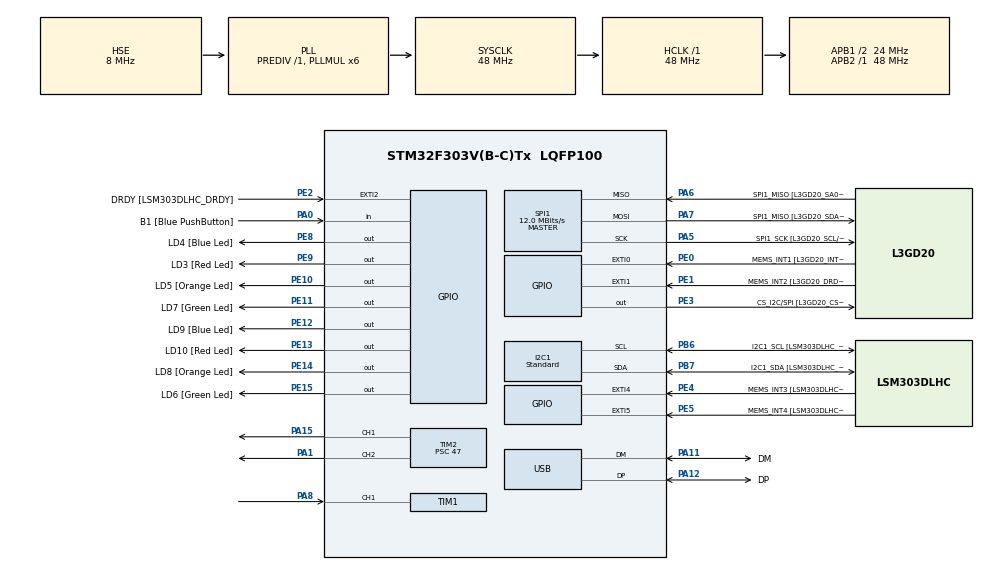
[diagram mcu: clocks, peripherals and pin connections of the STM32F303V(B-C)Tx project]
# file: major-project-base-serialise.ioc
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I2C1.I2C_Speed_Mode=I2C_Standard
I2C1.Speed=100
I2C1.Timing-I2C=0x2000090E
Mcu.Family=STM32F3
Mcu.Name=STM32F303V(B-C)Tx
Mcu.Package=LQFP100
NVIC.PriorityGroup=NVIC_PRIORITYGROUP_0
NVIC.TIM1_CC_IRQn=true\:0\:0\:false\:false\:true\:true\:true\:true
NVIC.TIM2_IRQn=true\:0\:0\:false\:false\:true\:true\:true\:true
PA0.GPIO_Label=B1 [Blue PushButton]
PA0.Signal=GPIO_Input
PA1.Signal=S_TIM2_CH2
PA11.GPIO_Label=DM
PA11.Mode=Device
PA11.Signal=USB_DM
PA12.GPIO_Label=DP
PA12.Mode=Device
PA12.Signal=USB_DP
PA13.GPIO_Label=SWDIO
PA13.Mode=Serial_Wire
PA13.Signal=SYS_JTMS-SWDIO
PA14.GPIO_Label=SWCLK
PA14.Mode=Serial_Wire
PA14.Signal=SYS_JTCK-SWCLK
PA15.Signal=S_TIM2_CH1_ETR
PA5.GPIO_Label=SPI1_SCK [L3GD20_SCL/SPC]
PA5.Mode=Full_Duplex_Master
PA5.Signal=SPI1_SCK
PA6.GPIO_Label=SPI1_MISO [L3GD20_SA0/SDO]
PA6.Mode=Full_Duplex_Master
PA6.Signal=SPI1_MISO
PA7.GPIO_Label=SPI1_MISO [L3GD20_SDA/SDI/SDO]
PA7.Mode=Full_Duplex_Master
PA7.Signal=SPI1_MOSI
PA8.Signal=S_TIM1_CH1
PB3.GPIO_Label=SWO
PB3.Signal=SYS_JTDO-TRACESWO
PB6.GPIO_Label=I2C1_SCL [LSM303DLHC_SCL]
PB6.GPIO_Pu=GPIO_PULLUP
PB6.Mode=I2C
PB6.Signal=I2C1_SCL
PB7.GPIO_Label=I2C1_SDA [LSM303DLHC_SDA]
PB7.GPIO_Pu=GPIO_PULLUP
PB7.Mode=I2C
PB7.Signal=I2C1_SDA
PC14-OSC32_IN.GPIO_Label=OSC32_IN
PC14-OSC32_IN.Signal=RCC_OSC32_IN
PC15-OSC32_OUT.GPIO_Label=OSC32_OUT
PC15-OSC32_OUT.Signal=RCC_OSC32_OUT
PE0.GPIO_Label=MEMS_INT1 [L3GD20_INT1]
PE0.GPIO_ModeDefaultEXTI=GPIO_MODE_EVT_RISING
PE0.Signal=GPXTI0
PE1.GPIO_Label=MEMS_INT2 [L3GD20_DRDY/INT2]
PE1.GPIO_ModeDefaultEXTI=GPIO_MODE_EVT_RISING
PE1.Signal=GPXTI1
PE10.GPIO_Label=LD5 [Orange Led]
PE10.Signal=GPIO_Output
PE11.GPIO_Label=LD7 [Green Led]
PE11.Signal=GPIO_Output
PE12.GPIO_Label=LD9 [Blue Led]
PE12.Signal=GPIO_Output
PE13.GPIO_Label=LD10 [Red Led]
PE13.Signal=GPIO_Output
PE14.GPIO_Label=LD8 [Orange Led]
PE14.Signal=GPIO_Output
PE15.GPIO_Label=LD6 [Green Led]
PE15.Signal=GPIO_Output
PE2.GPIO_Label=DRDY [LSM303DLHC_DRDY]
PE2.GPIO_ModeDefaultEXTI=GPIO_MODE_EVT_RISING
PE2.Signal=GPXTI2
PE3.GPIO_Label=CS_I2C/SPI [L3GD20_CS_I2C/SPI]
PE3.Signal=GPIO_Output
PE4.GPIO_Label=MEMS_INT3 [LSM303DLHC_INT1]
PE4.GPIO_ModeDefaultEXTI=GPIO_MODE_EVT_RISING
PE4.Signal=GPXTI4
PE5.GPIO_Label=MEMS_INT4 [LSM303DLHC_INT2]
PE5.GPIO_ModeDefaultEXTI=GPIO_MODE_EVT_RISING
PE5.Signal=GPXTI5
PE8.GPIO_Label=LD4 [Blue Led]
PE8.Signal=GPIO_Output
PE9.GPIO_Label=LD3 [Red Led]
PE9.Signal=GPIO_Output
PF0-OSC_IN.GPIO_Label=OSC_IN
PF0-OSC_IN.Mode=HSE-External-Clock-Source
PF0-OSC_IN.Signal=RCC_OSC_IN
PF1-OSC_OUT.GPIO_Label=OSC_OUT
PF1-OSC_OUT.Signal=RCC_OSC_OUT
ProjectManager.HeapSize=0x200
ProjectManager.StackSize=0x400
ProjectManager.TargetToolchain=STM32CubeIDE
RCC.AHBFreq_Value=48000000
RCC.APB1CLKDivider=RCC_HCLK_DIV2
RCC.APB1Freq_Value=24000000
RCC.APB1TimFreq_Value=48000000
RCC.APB2Freq_Value=48000000
RCC.APB2TimFreq_Value=48000000
RCC.CortexFreq_Value=48000000
RCC.HCLKFreq_Value=48000000
RCC.HSE_VALUE=8000000
RCC.HSI_VALUE=8000000
RCC.LSE_VALUE=32768
RCC.PLLMUL=RCC_PLL_MUL6
RCC.SYSCLKFreq_VALUE=48000000
RCC.SYSCLKSourceVirtual=RCC_SYSCLKSOURCE_PLLCLK
RCC.USBFreq_Value=48000000
SH.S_TIM1_CH1.0=TIM1_CH1,Input_Capture1_from_TI1
SH.S_TIM2_CH1_ETR.0=TIM2_CH1,PWM Generation1 CH1
SH.S_TIM2_CH2.0=TIM2_CH2,PWM Generation2 CH2
SPI1.BaudRatePrescaler=SPI_BAUDRATEPRESCALER_4
SPI1.BaudRatePrescaler-Full_Duplex_Master=SPI_BAUDRATEPRESCALER_2
SPI1.CalculateBaudRate=12.0 MBits/s
SPI1.CalculateBaudRate-Full_Duplex_Master=24.0 MBits/s
SPI1.Direction=SPI_DIRECTION_2LINES
SPI1.Mode=SPI_MODE_MASTER
SPI1.Mode-Full_Duplex_Master=SPI_MODE_MASTER
SPI1.VirtualType=VM_MASTER
TIM1.Channel-Input_Capture1_from_TI1=TIM_CHANNEL_1
TIM1.ICPolarity_CH1=TIM_INPUTCHANNELPOLARITY_BOTHEDGE
TIM1.Prescaler=47
TIM2.AutoReloadPreload=TIM_AUTORELOAD_PRELOAD_ENABLE
TIM2.Channel-PWM\ Generation1\ CH1=TIM_CHANNEL_1
TIM2.Channel-PWM\ Generation2\ CH2=TIM_CHANNEL_2
TIM2.Period=20000
TIM2.Prescaler=47
TIM2.Pulse-PWM\ Generation1\ CH1=2000
TIM2.Pulse-PWM\ Generation2\ CH2=2000
VP_TIM1_VS_ClockSourceINT.Mode=Internal
board=STM32F3DISCOVERY

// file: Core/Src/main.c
/* USER CODE BEGIN Header */
/**
 ******************************************************************************
 * @file           : main.c
 * @brief          : Main program body
 ******************************************************************************
 * @attention
 *
 * Copyright (c) 2023 STMicroelectronics.
 * All rights reserved.
 *
 * This software is licensed under terms that can be found in the LICENSE file
 * in the root directory of this software component.
 * If no LICENSE file comes with this software, it is provided AS-IS.
 *
 ******************************************************************************
 */
/* USER CODE END Header */
#include "main.h"

/* USER CODE BEGIN Includes */

#include <stdint.h>
#include <stdbool.h>

#include "ptu_definitions.h"
#include "ptu_i2c.h"
#include "serial.h"
#include "serialise.h"
#include "timer.h"
#include "button_interrupt.h"
#include "led.h"
#include "filter.h"

#include "math.h"

bool unlocked = false;

extern uint16_t button_start_time;
//uint16_t button_start_time;

/* USER CODE END Includes */

I2C_HandleTypeDef hi2c1;

SPI_HandleTypeDef hspi1;

TIM_HandleTypeDef htim1;
TIM_HandleTypeDef htim2;

PCD_HandleTypeDef hpcd_USB_FS;

void SystemClock_Config(void);
static void MX_GPIO_Init(void);
static void MX_I2C1_Init(void);
static void MX_SPI1_Init(void);
static void MX_USB_PCD_Init(void);
static void MX_TIM2_Init(void);
static void MX_TIM1_Init(void);

/* USER CODE BEGIN 0 */

// enable the clocks for desired peripherals (GPIOA, C and E)
void enable_clocks() {
	RCC->AHBENR |= RCC_AHBENR_GPIOAEN | RCC_AHBENR_GPIOCEN | RCC_AHBENR_GPIOEEN;
}

// initialise the discovery board I/O (just outputs: inputs are selected by default)
void initialise_board() {
	// get a pointer to the second half word of the MODER register (for outputs pe8-15)
	uint16_t *led_output_registers = ((uint16_t *)&(GPIOE->MODER)) + 1;
	*led_output_registers = 0x5555;
}

typedef union {
	uint8_t all_leds;
	struct {
		uint8_t led_pair_1 : 2;
		uint8_t led_pair_2 : 2;
		uint8_t led_set_of_4 : 4;
	} led_groups;
} LedRegister;

char test_buffer_2[100];

uint16_t last_capture = 0;

uint16_t rise_time = 0;
uint16_t last_period = 0;

void HAL_TIM_IC_CaptureCallback(TIM_HandleTypeDef *htim)
{
	// Instantiate sliding window for rolling average
	static Window last_period_window;
	static bool window_initialised = false;

	if (!window_initialised)
	{
		window_init(&last_period_window);
		window_initialised = true;
	}

	if (htim->Instance == TIM1 && htim->Channel == HAL_TIM_ACTIVE_CHANNEL_1)
	{
		uint16_t IC_Val1 = HAL_TIM_ReadCapturedValue(htim, TIM_CHANNEL_1); // read the first value

		if (HAL_GPIO_ReadPin(GPIOA, GPIO_PIN_8) == 1)
			rise_time = IC_Val1;
		else
		{
			uint16_t new_last_period = IC_Val1 - rise_time;
			last_period = moving_average(&last_period_window, new_last_period);
		}

		last_capture = IC_Val1;
	}
}

typedef struct {
	uint8_t var1;
	uint32_t var2;
	uint8_t var3;
	uint32_t var4;
	uint8_t var5;
	uint8_t var6;
} struct_1;

typedef struct {
	uint32_t var2;
	uint32_t var4;
	uint8_t var1;
	uint8_t var3;
	uint8_t var5;
	uint8_t var6;
} struct_2;

/* USER CODE END 0 */

int main(void)
{
  /* USER CODE BEGIN 1 */

	uint8_t string_to_send[64] = "This is a string !\r\n";

	enable_clocks();
	initialise_board();

	LedRegister *led_register = ((uint8_t*)&(GPIOE->ODR)) + 1;

	SerialInitialise(BAUD_115200, &USART1_PORT, 0x00);

	HAL_StatusTypeDef return_value = 0x00;

	volatile uint16_t vertical_PWM = 1000;
	volatile uint16_t horizontal_PWM = 1000;

  /* USER CODE END 1 */

  /* MCU Configuration--------------------------------------------------------*/

  /* Reset of all peripherals, Initializes the Flash interface and the Systick. */
  HAL_Init();

  /* Configure the system clock */
  SystemClock_Config();

  /* Initialize all configured peripherals */
  MX_GPIO_Init();
  MX_I2C1_Init();
  MX_SPI1_Init();
  MX_USB_PCD_Init();
  MX_TIM2_Init();
  MX_TIM1_Init();
  /* USER CODE BEGIN 2 */

	HAL_TIM_PWM_Start(&htim2, TIM_CHANNEL_1);
	HAL_TIM_PWM_Start(&htim2, TIM_CHANNEL_2);

	HAL_TIM_IC_Start_IT(&htim1, TIM_CHANNEL_1);

	// TIM 2 is setup with a prescaler that makes 1 count = 1 microsecond
	// Even with HAL, you can still set the values yourself
	TIM2->ARR = 20000; // 20000 = 20ms, which is the desired clock period for servos
	TIM2->CR1 |= TIM_CR1_ARPE; // this makes the timing not change until the next pulse is finished

	// note: for PWM if you continually change the clock period
	// you can get unexpected results. To remove this, set ARPE so that the
	// ARR settings are not activated until the next cycle.

	initialise_ptu_i2c(&hi2c1);
    // Initialising Timer 3
    TimerInitialise(&TIMER3);
    // Initialise button interrupt
    enable_button_interrupt();

  /* USER CODE END 2 */

  /* Infinite loop */
  /* USER CODE BEGIN WHILE */

	// reset lidar board
	uint8_t reset_value = 0x00;
	return_value = HAL_I2C_Mem_Write(&hi2c1, LIDAR_WR, 0x00, 1, &reset_value, 1, 10);

	uint8_t PWM_direction_clockwise = 1;

	// delay for initialisation of the lidar
	HAL_Delay(100);

	bool flashed = false;

	while (1)
	{
		// Set vertical and horizontal orientation of LIDAR
		vertical_PWM = 1500;
		horizontal_PWM = 1500;
		TIM2->CCR1 = vertical_PWM;
		TIM2->CCR2 = horizontal_PWM;

		uint8_t xMSB = 0x00;
		HAL_I2C_Mem_Read(&hi2c1,gyro_rd, 0x29, 1, &xMSB, 1, 10);
		uint8_t xLSB = 0x00;
		HAL_I2C_Mem_Read(&hi2c1,gyro_rd, 0x28, 1, &xLSB, 1, 10);
		int16_t yaw_rate = ((xMSB << 8) | xLSB);

		uint8_t yMSB = 0x00;
		HAL_I2C_Mem_Read(&hi2c1,gyro_rd, 0x2B, 1, &yMSB, 1, 10);
		uint8_t yLSB = 0x00;
		HAL_I2C_Mem_Read(&hi2c1,gyro_rd, 0x2A, 1, &yLSB, 1, 10);
		int16_t pitch_rate = ((yMSB << 8) | yLSB);

		uint8_t zMSB = 0x00;
		HAL_I2C_Mem_Read(&hi2c1,gyro_rd, 0x2D, 1, &zMSB, 1, 10);
		uint8_t zLSB = 0x00;
		HAL_I2C_Mem_Read(&hi2c1,gyro_rd, 0x2C, 1, &zLSB, 1, 10);
		int16_t roll_rate = ((zMSB << 8) | zLSB);

		 */

		uint8_t lidar_value = 0x03;
		return_value = HAL_I2C_Mem_Write(&hi2c1, LIDAR_WR, 0x00, 1, &lidar_value, 1, 100);

		lidar_value = 0xff;

		uint8_t lidar_MSBa = 0x00;
		uint8_t lidar_LSBa = 0x00;

		volatile uint16_t lidar_distance = 0xff;

		uint16_t timeout;

		while ((lidar_value & 0x01) != 0x00) {
		    return_value = HAL_I2C_Mem_Read(&hi2c1, LIDAR_RD, 0x01, 1, &lidar_value, 1, 100);
	        return_value = HAL_I2C_Mem_Write(&hi2c1, LIDAR_WR, 0x00, 1, &lidar_value, 1, 100);

			return_value = HAL_I2C_Mem_Read(&hi2c1, LIDAR_RD, 0x0f, 1, &lidar_MSBa, 1, 100);
			return_value = HAL_I2C_Mem_Read(&hi2c1, LIDAR_RD, 0x10, 1, &lidar_LSBa, 1, 100);

			lidar_distance = ((lidar_MSBa << 8) | lidar_LSBa);
			timeout += 1;
			if (timeout > 0xff)
				break;
		}

		if (unlocked)
		{

			if (!flashed)
			{
				set_led(0b10000000);
				completion_led();
				flashed = true;
			}

		}
		        lidar_value = 0x04;
		        //ser

		uint8_t lidar_ranges = lidar_distance / (100/4); // 100cm broken into 4 groups
		if (lidar_ranges > 3)
			lidar_ranges = 3;

		*/

		if (last_period > 4000)
			last_period = 5000;
		if (lidar_distance > 4000)
			lidar_distance = 5500;

		// Fill sensor_data.sensor_data with your actual sensor readings
		sensor_data.sensor_data.acc_x = 12345;
		sensor_data.sensor_data.acc_y = 23456;
		sensor_data.sensor_data.acc_z = 34567;
		sensor_data.sensor_data.gyro_x = roll_rate;
		sensor_data.sensor_data.gyro_y = pitch_rate;
		sensor_data.sensor_data.gyro_z = yaw_rate;
		sensor_data.sensor_data.lidar_pwm = last_period;
		sensor_data.sensor_data.lidar_i2c = lidar_distance*10;

		uint16_t sensor_data_buffer_length = pack_buffer(sensor_data_packet_buffer, SENSOR_DATA, &sensor_data);
		//SerialOutputBuffer(sensor_data_packet_buffer, sensor_data_buffer_length, &USART1_PORT); // Send the buffer over serial

		// Read a data packet from serial that has the LED state
		uint8_t data_packet_input_buffer[32] = {0};
		uint16_t data_packet_size = SerialInputPacketHeader(data_packet_input_buffer, &USART1_PORT);

		// copy the data to a header structure
		Header incoming_header = {0};
		memcpy(&incoming_header, data_packet_input_buffer, sizeof(Header));

		if (incoming_header.message_type == LED_STATE) {
			LEDState desired_led_state = {0};
			uint8_t success = SerialInputDataPacket(&desired_led_state, sizeof(desired_led_state), &USART1_PORT);

			if (success > 0) {
				//uint8_t tmp = desired_led_state.led_byte;
				led_register->all_leds = desired_led_state.led_byte;
			}
		}

    /* USER CODE END WHILE */

	}
}

void SystemClock_Config(void)
{
  RCC_OscInitTypeDef RCC_OscInitStruct = {0};
  RCC_ClkInitTypeDef RCC_ClkInitStruct = {0};
  RCC_PeriphCLKInitTypeDef PeriphClkInit = {0};

  /** Initializes the RCC Oscillators according to the specified parameters
  * in the RCC_OscInitTypeDef structure.
  */
  RCC_OscInitStruct.OscillatorType = RCC_OSCILLATORTYPE_HSI|RCC_OSCILLATORTYPE_HSE;
  RCC_OscInitStruct.HSEState = RCC_HSE_BYPASS;
  RCC_OscInitStruct.HSEPredivValue = RCC_HSE_PREDIV_DIV1;
  RCC_OscInitStruct.HSIState = RCC_HSI_ON;
  RCC_OscInitStruct.HSICalibrationValue = RCC_HSICALIBRATION_DEFAULT;
  RCC_OscInitStruct.PLL.PLLState = RCC_PLL_ON;
  RCC_OscInitStruct.PLL.PLLSource = RCC_PLLSOURCE_HSE;
  RCC_OscInitStruct.PLL.PLLMUL = RCC_PLL_MUL6;
  if (HAL_RCC_OscConfig(&RCC_OscInitStruct) != HAL_OK)
  {
    Error_Handler();
  }

  /** Initializes the CPU, AHB and APB buses clocks
  */
  RCC_ClkInitStruct.ClockType = RCC_CLOCKTYPE_HCLK|RCC_CLOCKTYPE_SYSCLK
                              |RCC_CLOCKTYPE_PCLK1|RCC_CLOCKTYPE_PCLK2;
  RCC_ClkInitStruct.SYSCLKSource = RCC_SYSCLKSOURCE_PLLCLK;
  RCC_ClkInitStruct.AHBCLKDivider = RCC_SYSCLK_DIV1;
  RCC_ClkInitStruct.APB1CLKDivider = RCC_HCLK_DIV2;
  RCC_ClkInitStruct.APB2CLKDivider = RCC_HCLK_DIV1;

  if (HAL_RCC_ClockConfig(&RCC_ClkInitStruct, FLASH_LATENCY_1) != HAL_OK)
  {
    Error_Handler();
  }
  PeriphClkInit.PeriphClockSelection = RCC_PERIPHCLK_USB|RCC_PERIPHCLK_I2C1
                              |RCC_PERIPHCLK_TIM1;
  PeriphClkInit.I2c1ClockSelection = RCC_I2C1CLKSOURCE_HSI;
  PeriphClkInit.USBClockSelection = RCC_USBCLKSOURCE_PLL;
  PeriphClkInit.Tim1ClockSelection = RCC_TIM1CLK_HCLK;
  if (HAL_RCCEx_PeriphCLKConfig(&PeriphClkInit) != HAL_OK)
  {
    Error_Handler();
  }
}

static void MX_I2C1_Init(void)
{

  hi2c1.Instance = I2C1;
  hi2c1.Init.Timing = 0x2000090E;
  hi2c1.Init.OwnAddress1 = 0;
  hi2c1.Init.AddressingMode = I2C_ADDRESSINGMODE_7BIT;
  hi2c1.Init.DualAddressMode = I2C_DUALADDRESS_DISABLE;
  hi2c1.Init.OwnAddress2 = 0;
  hi2c1.Init.OwnAddress2Masks = I2C_OA2_NOMASK;
  hi2c1.Init.GeneralCallMode = I2C_GENERALCALL_DISABLE;
  hi2c1.Init.NoStretchMode = I2C_NOSTRETCH_DISABLE;
  if (HAL_I2C_Init(&hi2c1) != HAL_OK)
  {
    Error_Handler();
  }

  /** Configure Analogue filter
  */
  if (HAL_I2CEx_ConfigAnalogFilter(&hi2c1, I2C_ANALOGFILTER_ENABLE) != HAL_OK)
  {
    Error_Handler();
  }

  /** Configure Digital filter
  */
  if (HAL_I2CEx_ConfigDigitalFilter(&hi2c1, 0) != HAL_OK)
  {
    Error_Handler();
  }

}

static void MX_SPI1_Init(void)
{

  /* SPI1 parameter configuration*/
  hspi1.Instance = SPI1;
  hspi1.Init.Mode = SPI_MODE_MASTER;
  hspi1.Init.Direction = SPI_DIRECTION_2LINES;
  hspi1.Init.DataSize = SPI_DATASIZE_4BIT;
  hspi1.Init.CLKPolarity = SPI_POLARITY_LOW;
  hspi1.Init.CLKPhase = SPI_PHASE_1EDGE;
  hspi1.Init.NSS = SPI_NSS_SOFT;
  hspi1.Init.BaudRatePrescaler = SPI_BAUDRATEPRESCALER_4;
  hspi1.Init.FirstBit = SPI_FIRSTBIT_MSB;
  hspi1.Init.TIMode = SPI_TIMODE_DISABLE;
  hspi1.Init.CRCCalculation = SPI_CRCCALCULATION_DISABLE;
  hspi1.Init.CRCPolynomial = 7;
  hspi1.Init.CRCLength = SPI_CRC_LENGTH_DATASIZE;
  hspi1.Init.NSSPMode = SPI_NSS_PULSE_ENABLE;
  if (HAL_SPI_Init(&hspi1) != HAL_OK)
  {
    Error_Handler();
  }

}

static void MX_TIM1_Init(void)
{

  TIM_ClockConfigTypeDef sClockSourceConfig = {0};
  TIM_MasterConfigTypeDef sMasterConfig = {0};
  TIM_IC_InitTypeDef sConfigIC = {0};

  /* USER CODE BEGIN TIM1_Init 1 */
	NVIC_SetPriority(TIM1_CC_IRQn, 1);
  /* USER CODE END TIM1_Init 1 */
  htim1.Instance = TIM1;
  htim1.Init.Prescaler = 47;
  htim1.Init.CounterMode = TIM_COUNTERMODE_UP;
  htim1.Init.Period = 65535;
  htim1.Init.ClockDivision = TIM_CLOCKDIVISION_DIV1;
  htim1.Init.RepetitionCounter = 0;
  htim1.Init.AutoReloadPreload = TIM_AUTORELOAD_PRELOAD_DISABLE;
  if (HAL_TIM_Base_Init(&htim1) != HAL_OK)
  {
    Error_Handler();
  }
  sClockSourceConfig.ClockSource = TIM_CLOCKSOURCE_INTERNAL;
  if (HAL_TIM_ConfigClockSource(&htim1, &sClockSourceConfig) != HAL_OK)
  {
    Error_Handler();
  }
  if (HAL_TIM_IC_Init(&htim1) != HAL_OK)
  {
    Error_Handler();
  }
  sMasterConfig.MasterOutputTrigger = TIM_TRGO_RESET;
  sMasterConfig.MasterOutputTrigger2 = TIM_TRGO2_RESET;
  sMasterConfig.MasterSlaveMode = TIM_MASTERSLAVEMODE_DISABLE;
  if (HAL_TIMEx_MasterConfigSynchronization(&htim1, &sMasterConfig) != HAL_OK)
  {
    Error_Handler();
  }
  sConfigIC.ICPolarity = TIM_INPUTCHANNELPOLARITY_BOTHEDGE;
  sConfigIC.ICSelection = TIM_ICSELECTION_DIRECTTI;
  sConfigIC.ICPrescaler = TIM_ICPSC_DIV1;
  sConfigIC.ICFilter = 0;
  if (HAL_TIM_IC_ConfigChannel(&htim1, &sConfigIC, TIM_CHANNEL_1) != HAL_OK)
  {
    Error_Handler();
  }

}

static void MX_TIM2_Init(void)
{

  TIM_MasterConfigTypeDef sMasterConfig = {0};
  TIM_OC_InitTypeDef sConfigOC = {0};

  /* USER CODE BEGIN TIM2_Init 1 */
	NVIC_SetPriority(TIM2_IRQn, 1);

  /* USER CODE END TIM2_Init 1 */
  htim2.Instance = TIM2;
  htim2.Init.Prescaler = 47;
  htim2.Init.CounterMode = TIM_COUNTERMODE_UP;
  htim2.Init.Period = 20000;
  htim2.Init.ClockDivision = TIM_CLOCKDIVISION_DIV1;
  htim2.Init.AutoReloadPreload = TIM_AUTORELOAD_PRELOAD_ENABLE;
  if (HAL_TIM_PWM_Init(&htim2) != HAL_OK)
  {
    Error_Handler();
  }
  sMasterConfig.MasterOutputTrigger = TIM_TRGO_RESET;
  sMasterConfig.MasterSlaveMode = TIM_MASTERSLAVEMODE_DISABLE;
  if (HAL_TIMEx_MasterConfigSynchronization(&htim2, &sMasterConfig) != HAL_OK)
  {
    Error_Handler();
  }
  sConfigOC.OCMode = TIM_OCMODE_PWM1;
  sConfigOC.Pulse = 2000;
  sConfigOC.OCPolarity = TIM_OCPOLARITY_HIGH;
  sConfigOC.OCFastMode = TIM_OCFAST_DISABLE;
  if (HAL_TIM_PWM_ConfigChannel(&htim2, &sConfigOC, TIM_CHANNEL_1) != HAL_OK)
  {
    Error_Handler();
  }
  if (HAL_TIM_PWM_ConfigChannel(&htim2, &sConfigOC, TIM_CHANNEL_2) != HAL_OK)
  {
    Error_Handler();
  }
  HAL_TIM_MspPostInit(&htim2);

}

static void MX_USB_PCD_Init(void)
{

  hpcd_USB_FS.Instance = USB;
  hpcd_USB_FS.Init.dev_endpoints = 8;
  hpcd_USB_FS.Init.speed = PCD_SPEED_FULL;
  hpcd_USB_FS.Init.phy_itface = PCD_PHY_EMBEDDED;
  hpcd_USB_FS.Init.low_power_enable = DISABLE;
  hpcd_USB_FS.Init.battery_charging_enable = DISABLE;
  if (HAL_PCD_Init(&hpcd_USB_FS) != HAL_OK)
  {
    Error_Handler();
  }

}

static void MX_GPIO_Init(void)
{
  GPIO_InitTypeDef GPIO_InitStruct = {0};

  /* GPIO Ports Clock Enable */
  __HAL_RCC_GPIOE_CLK_ENABLE();
  __HAL_RCC_GPIOC_CLK_ENABLE();
  __HAL_RCC_GPIOF_CLK_ENABLE();
  __HAL_RCC_GPIOA_CLK_ENABLE();
  __HAL_RCC_GPIOB_CLK_ENABLE();

  /*Configure GPIO pin Output Level */
  HAL_GPIO_WritePin(GPIOE, CS_I2C_SPI_Pin|LD4_Pin|LD3_Pin|LD5_Pin
                          |LD7_Pin|LD9_Pin|LD10_Pin|LD8_Pin
                          |LD6_Pin, GPIO_PIN_RESET);

  /*Configure GPIO pins : DRDY_Pin MEMS_INT3_Pin MEMS_INT4_Pin MEMS_INT1_Pin
                           MEMS_INT2_Pin */
  GPIO_InitStruct.Pin = DRDY_Pin|MEMS_INT3_Pin|MEMS_INT4_Pin|MEMS_INT1_Pin
                          |MEMS_INT2_Pin;
  GPIO_InitStruct.Mode = GPIO_MODE_EVT_RISING;
  GPIO_InitStruct.Pull = GPIO_NOPULL;
  HAL_GPIO_Init(GPIOE, &GPIO_InitStruct);

  /*Configure GPIO pins : CS_I2C_SPI_Pin LD4_Pin LD3_Pin LD5_Pin
                           LD7_Pin LD9_Pin LD10_Pin LD8_Pin
                           LD6_Pin */
  GPIO_InitStruct.Pin = CS_I2C_SPI_Pin|LD4_Pin|LD3_Pin|LD5_Pin
                          |LD7_Pin|LD9_Pin|LD10_Pin|LD8_Pin
                          |LD6_Pin;
  GPIO_InitStruct.Mode = GPIO_MODE_OUTPUT_PP;
  GPIO_InitStruct.Pull = GPIO_NOPULL;
  GPIO_InitStruct.Speed = GPIO_SPEED_FREQ_LOW;
  HAL_GPIO_Init(GPIOE, &GPIO_InitStruct);

  /*Configure GPIO pin : B1_Pin */
  GPIO_InitStruct.Pin = B1_Pin;
  GPIO_InitStruct.Mode = GPIO_MODE_INPUT;
  GPIO_InitStruct.Pull = GPIO_NOPULL;
  HAL_GPIO_Init(B1_GPIO_Port, &GPIO_InitStruct);

}

void Error_Handler(void)
{
	__disable_irq();
	while (1)
	{
	}
}
